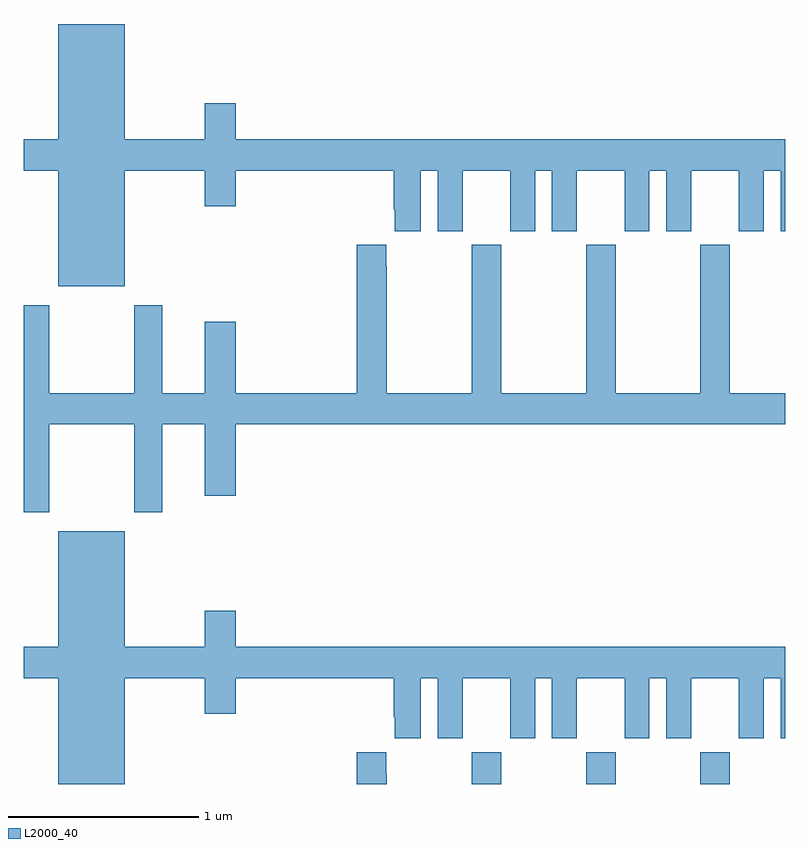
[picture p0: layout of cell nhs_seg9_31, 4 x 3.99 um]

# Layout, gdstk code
import gdstk
lib = gdstk.Library(unit=1e-6, precision=1e-09)
def R(c, l, rs):  # rectangles x0, y0, x1, y1
    for r in rs: c.add(gdstk.rectangle(r[:2], r[2:], *l))
def A(c, l, x, y, w, h, nx, ny, dx, dy):  # array of equal rectangles
    R(c, l, [(x+i*dx, y+j*dy, x+i*dx+w, y+j*dy+h) for i in range(nx) for j in range(ny)])
def P(c, l, *ps):  # polygons
    for p in ps: c.add(gdstk.Polygon(p, *l))
L2000_40 = (2000, 40)

nhs_seg9_31 = lib.new_cell('nhs_seg9_31')
A(nhs_seg9_31, L2000_40, 113.353, 1226.5, 0.155, 0.168, 3, 1, 0.6, 0)
P(nhs_seg9_31, L2000_40, [(111.532,1229.72),(111.95,1229.72),(111.95,1229.532),(112.114,1229.532),(112.114,1229.72),(112.943,1229.72),(112.943,1229.515),(112.949,1229.515),(112.949,1229.403),(113.086,1229.403),(113.086,1229.72),(113.174,1229.72),(113.174,1229.403),(113.305,1229.403),(113.305,1229.72),(113.555,1229.72),(113.555,1229.403),(113.686,1229.403),(113.686,1229.72),(113.774,1229.72),(113.774,1229.403),(113.905,1229.403),(113.905,1229.72),(114.155,1229.72),(114.155,1229.403),(114.286,1229.403),(114.286,1229.72),(114.374,1229.72),(114.374,1229.403),(114.505,1229.403),(114.505,1229.72),(114.755,1229.72),(114.755,1229.403),(114.886,1229.403),(114.886,1229.72),(114.974,1229.72),(114.974,1229.403),(115,1229.403),(115,1229.884),(112.114,1229.884),(112.114,1230.073),(111.95,1230.073),(111.95,1229.884),(111.532,1229.884),(111.532,1230.49),(111.182,1230.49),(111.182,1229.884),(111,1229.884),(111,1229.72),(111.182,1229.72),(111.182,1229.114),(111.532,1229.114)],
  [(111.135,1228.388),(111.58,1228.388),(111.58,1227.927),(111.727,1227.927),(111.727,1228.388),(111.95,1228.388),(111.95,1228.014),(112.114,1228.014),(112.114,1228.388),(115,1228.388),(115,1228.552),(114.708,1228.552),(114.708,1229.332),(114.553,1229.332),(114.553,1228.552),(114.108,1228.552),(114.108,1229.332),(113.953,1229.332),(113.953,1228.552),(113.508,1228.552),(113.508,1229.332),(113.353,1229.332),(113.353,1228.552),(112.908,1228.552),(112.908,1229.219),(112.903,1229.219),(112.903,1229.332),(112.748,1229.332),(112.748,1228.552),(112.114,1228.552),(112.114,1228.927),(111.95,1228.927),(111.95,1228.552),(111.727,1228.552),(111.727,1229.014),(111.58,1229.014),(111.58,1228.552),(111.135,1228.552),(111.135,1229.014),(111,1229.014),(111,1227.927),(111.135,1227.927)],
  [(111.532,1227.056),(111.95,1227.056),(111.95,1226.868),(112.114,1226.868),(112.114,1227.056),(112.943,1227.056),(112.943,1226.851),(112.949,1226.851),(112.949,1226.739),(113.086,1226.739),(113.086,1227.056),(113.174,1227.056),(113.174,1226.739),(113.305,1226.739),(113.305,1227.056),(113.555,1227.056),(113.555,1226.739),(113.686,1226.739),(113.686,1227.056),(113.774,1227.056),(113.774,1226.739),(113.905,1226.739),(113.905,1227.056),(114.155,1227.056),(114.155,1226.739),(114.286,1226.739),(114.286,1227.056),(114.374,1227.056),(114.374,1226.739),(114.505,1226.739),(114.505,1227.056),(114.755,1227.056),(114.755,1226.739),(114.886,1226.739),(114.886,1227.056),(114.974,1227.056),(114.974,1226.739),(115,1226.739),(115,1227.22),(112.114,1227.22),(112.114,1227.409),(111.95,1227.409),(111.95,1227.22),(111.532,1227.22),(111.532,1227.826),(111.182,1227.826),(111.182,1227.22),(111,1227.22),(111,1227.056),(111.182,1227.056),(111.182,1226.5),(111.532,1226.5)],
  [(112.908,1226.555),(112.903,1226.555),(112.903,1226.668),(112.748,1226.668),(112.748,1226.5),(112.908,1226.5)])

lib.write_gds('nhs_seg9_31.gds')
